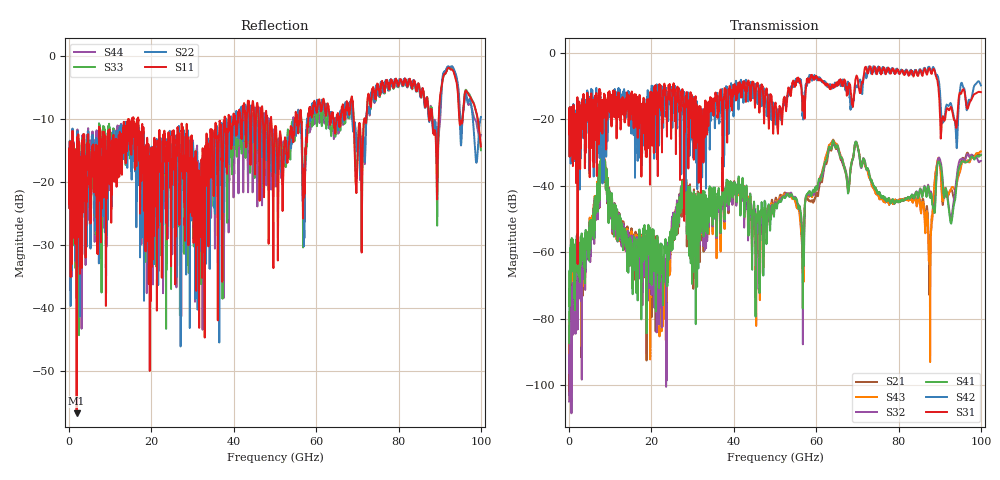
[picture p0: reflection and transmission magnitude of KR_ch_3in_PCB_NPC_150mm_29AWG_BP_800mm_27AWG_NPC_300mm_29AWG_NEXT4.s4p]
# GHz S RI R 45
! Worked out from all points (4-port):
!   4000 points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, 25 MHz to 100 GHz, reference 45 ohm
!   strongest paths, dB at 25 MHz, 25.02 GHz, 50.02 GHz, 75.03 GHz, 100 GHz:
!     S31: -21.2, -14.1, -15.8, -5.2, -11.8
!     S42: -21.3, -17.5, -18.0, -4.3, -9.8
!     S41: -87.3, -56.7, -46.0, -42.3, -30.7
!     S32: -104.9, -50.2, -45.1, -42.4, -32.5
!     S43: -101.5, -52.1, -44.8, -42.2, -29.6
!     S21: -102.4, -53.0, -44.4, -42.4, -30.6
!   lowest |S11| = -56.7 dB at 1.85 GHz (marker M1), VSWR 1.00, Z = 45.1 + j0.051 ohm
!   |S11| at or under -10 dB: start of sweep to 14.37 GHz; 16.8 GHz to 37.75 GHz (20.95 GHz wide, 76.8 % of centre); 49.1 GHz to 54.96 GHz (5.86 GHz wide, 11.3 % of centre) (the widest 3 of 32)
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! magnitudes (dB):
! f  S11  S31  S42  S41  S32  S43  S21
! 25 MHz  -16.7  -21.2  -21.3  -87.3  -104.9  -101.5  -102.4
! 1.85 GHz  -56.7  -24.9  -25.6  -56.1  -62.7  -59.2  -60.1
! 8.25 GHz  -13.0  -15.1  -18.7  -27.9  -28.5  -28.2  -28.4
! 23.15 GHz  -11.9  -9.2  -13.6  -58.5  -60.8  -67.0  -64.6
! 27.68 GHz  -13.1  -14.0  -12.6  -44.8  -45.7  -44.3  -45.8
! 87.55 GHz  -10.2  -4.7  -4.5  -43.1  -42.9  -63.4  -62.1
! 100 GHz  -14.4  -11.8  -9.8  -30.7  -32.5  -29.6  -30.6
